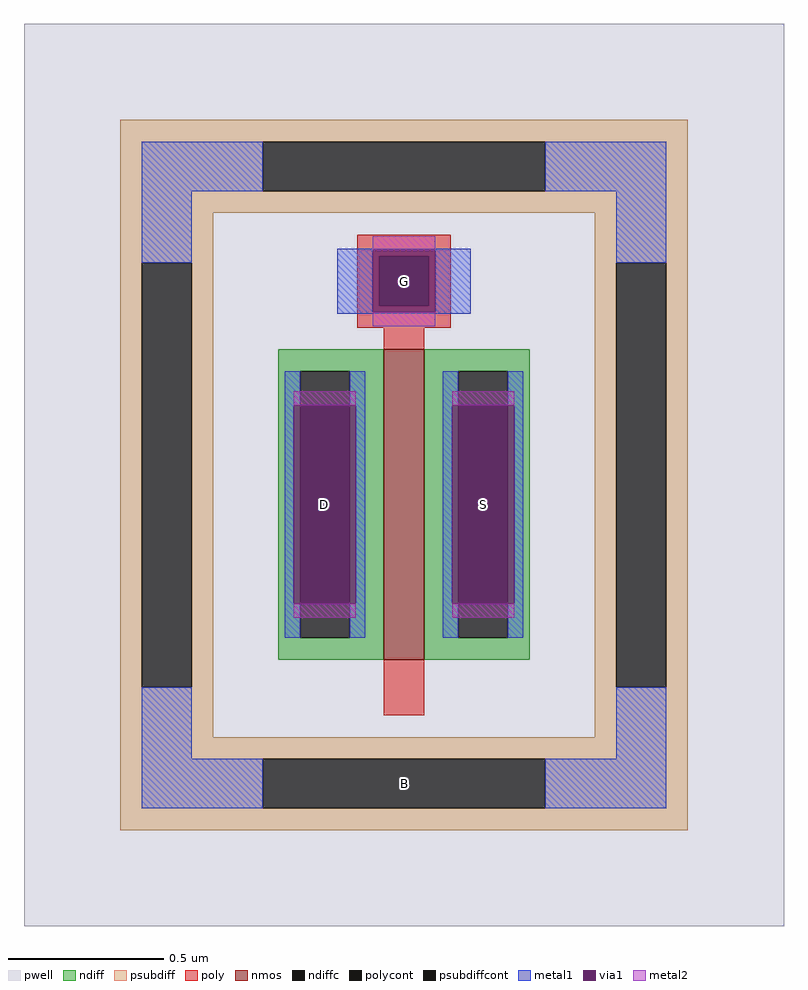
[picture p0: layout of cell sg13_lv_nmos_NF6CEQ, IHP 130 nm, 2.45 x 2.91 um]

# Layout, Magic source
magic
tech ihp-sg13g2
magscale 1 2
<< pwell >>
rect -245 -291 245 291
<< nmos >>
rect -13 -119 13 81
<< ndiff >>
rect -81 67 -13 81
rect -81 -105 -67 67
rect -35 -105 -13 67
rect -81 -119 -13 -105
rect 13 67 81 81
rect 13 -105 35 67
rect 67 -105 81 67
rect 13 -119 81 -105
<< ndiffc >>
rect -67 -105 -35 67
rect 35 -105 67 67
<< psubdiff >>
rect -183 215 183 229
rect -183 183 -91 215
rect 91 183 183 215
rect -183 169 183 183
rect -183 137 -123 169
rect -183 -137 -169 137
rect -137 -137 -123 137
rect 123 137 183 169
rect -183 -169 -123 -137
rect 123 -137 137 137
rect 169 -137 183 137
rect 123 -169 183 -137
rect -183 -183 183 -169
rect -183 -215 -91 -183
rect 91 -215 183 -183
rect -183 -229 183 -215
<< psubdiffcont >>
rect -91 183 91 215
rect -169 -137 -137 137
rect 137 -137 169 137
rect -91 -215 91 -183
<< poly >>
rect -30 141 30 155
rect -30 109 -16 141
rect 16 109 30 141
rect -30 95 30 109
rect -13 81 13 95
rect -13 -155 13 -119
<< polycont >>
rect -16 109 16 141
<< metal1 >>
rect -169 183 -91 215
rect 91 183 169 215
rect -169 137 -137 183
rect -43 145 43 146
rect -43 105 -20 145
rect 20 105 43 145
rect -43 104 43 105
rect 137 137 169 183
rect -77 45 -67 67
rect -35 45 -25 67
rect -77 -83 -71 45
rect -31 -83 -25 45
rect -77 -105 -67 -83
rect -35 -105 -25 -83
rect 25 45 35 67
rect 67 45 77 67
rect 25 -83 31 45
rect 71 -83 77 45
rect 25 -105 35 -83
rect 67 -105 77 -83
rect -169 -183 -137 -137
rect 137 -183 169 -137
rect -169 -215 -91 -183
rect 91 -215 169 -183
<< via1 >>
rect -20 141 20 145
rect -20 109 -16 141
rect -16 109 16 141
rect 16 109 20 141
rect -20 105 20 109
rect -71 -83 -67 45
rect -67 -83 -35 45
rect -35 -83 -31 45
rect 31 -83 35 45
rect 35 -83 67 45
rect 67 -83 71 45
<< metal2 >>
rect -20 145 20 154
rect -20 96 20 105
rect -71 45 -31 54
rect -71 -92 -31 -83
rect 31 45 71 54
rect 31 -92 71 -83
<< labels >>
rlabel psubdiffcont 0 -199 0 -199 0 B
port 1 nsew
rlabel ndiffc -51 -19 -51 -19 0 D
port 2 nsew
rlabel ndiffc 51 -19 51 -19 0 S
port 3 nsew
rlabel polycont 0 125 0 125 0 G
port 4 nsew
<< properties >>
string FIXED_BBOX -153 -199 153 199
string gencell sg13_lv_nmos
string library sg13g2
string parameters w 1 l 0.13 m 1 nf 1 diffcov 100 polycov 100 guard 1 glc 1 grc 1 gtc 1 gbc 1 tbcov 100 rlcov 100 topc 1 botc 0 poverlap 0 doverlap 1 lmin 0.13 wmin 0.15 class mosfet compatible {sg13_lv_nmos sg13_hv_nmos} full_metal 1 conn_gates 0 gate_ring 0 doports 1 viasrc 100 viadrn 100 viagate 100 ccols 1 viagb 0 viagr 0 viagl 0 viagt 0
<< end >>
